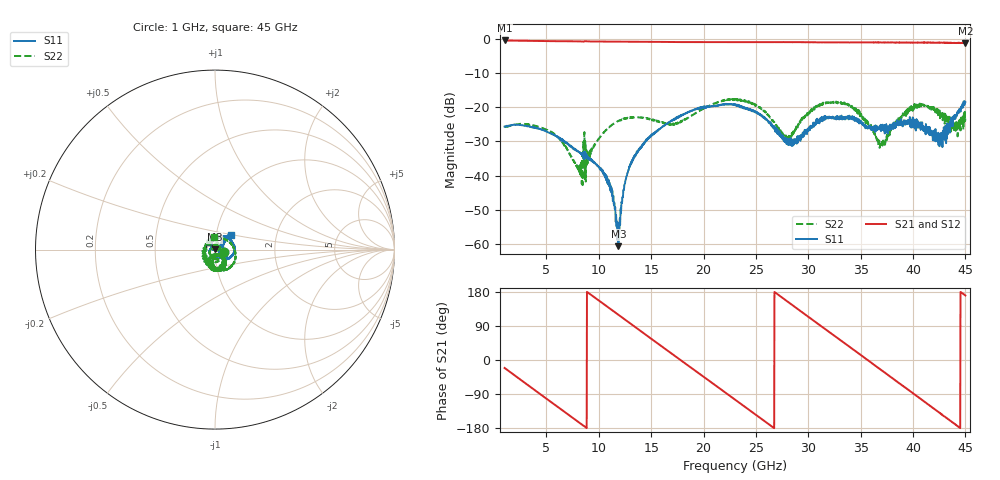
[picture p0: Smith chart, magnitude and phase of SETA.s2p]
!Keysight Technologies,N5247B,MY61255062,A.19.80.06
!Date: Thursday, May 21, 2026 12:12:57
!Correction: S11(Cdelta 2-Port  )
!S21(Cdelta 2-Port  )
!S12(Cdelta 2-Port  )
!S22(Cdelta 2-Port  )
!S2P File: Measurements: S11, S21, S12, S22:
# Hz S  dB  R 50
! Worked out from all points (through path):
!   1601 points, 1 GHz to 45 GHz, reference 50 ohm
!   highest |S21| = -0.47 dB at 1 GHz (marker M1); lowest = -1.3 dB at 45 GHz (marker M2)
!   group delay of S21, straight-line fit = 56 ps
!   lowest |S11| = -60.6 dB at 11.86 GHz (marker M3), VSWR 1.00, Z = 50 + j0.0801 ohm
!   |S11| at or under -10 dB: start of sweep to end of sweep
!   |S22| runs from -42.8 to -17.6 dB; largest |S21 - S12| = 0.015
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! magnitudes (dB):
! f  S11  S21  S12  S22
! 1 GHz  -25.7  -0.5  -0.5  -25.6
! 5.317 GHz  -27.5  -0.7  -0.7  -27.1
! 8.342 GHz  -33.8  -0.8  -0.8  -36.1
! 10.71 GHz  -41.4  -0.8  -0.8  -26.7
! 11.18 GHz  -44.5  -0.8  -0.8  -25.4
! 11.86 GHz  -60.6  -0.8  -0.8  -24.1
! 12.47 GHz  -42.5  -0.8  -0.8  -23.2
! 13.04 GHz  -36.7  -0.8  -0.8  -23.1
! 15.69 GHz  -26.6  -0.9  -0.9  -24.1
! 19.23 GHz  -20.6  -1.0  -1.0  -21.7
! 23 GHz  -19.3  -1.0  -1.0  -17.6
! 25.45 GHz  -22.3  -1.0  -1.0  -20.4
! 28.06 GHz  -29.2  -1.0  -1.0  -28.5
! 30.34 GHz  -26.1  -1.0  -1.0  -20.6
! 33.51 GHz  -23.6  -1.0  -1.0  -19.1
! 35.18 GHz  -24.9  -1.0  -1.0  -23.3
! 36.86 GHz  -26.6  -1.0  -1.0  -31.0
! 37.69 GHz  -26.2  -1.0  -1.1  -28.2
! 40.33 GHz  -23.5  -1.1  -1.1  -20.3
! 42.58 GHz  -28.5  -1.1  -1.1  -23.2
! 44.04 GHz  -23.4  -1.2  -1.2  -24.9
! 45 GHz  -18.5  -1.3  -1.2  -23.4
